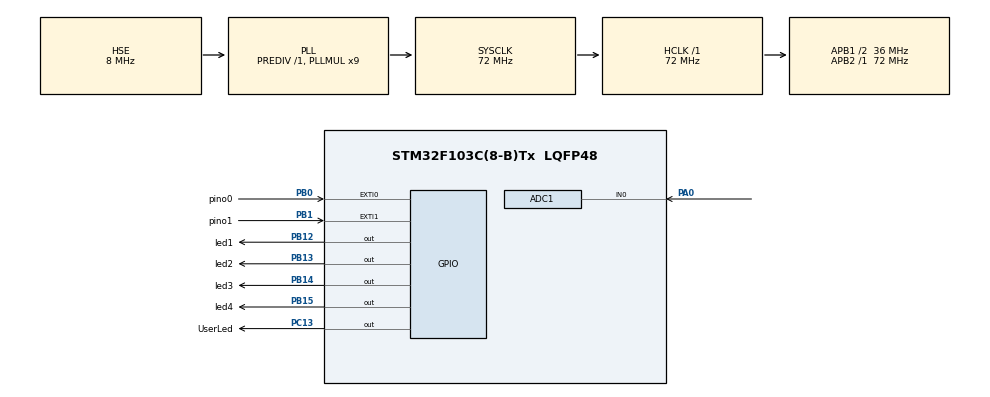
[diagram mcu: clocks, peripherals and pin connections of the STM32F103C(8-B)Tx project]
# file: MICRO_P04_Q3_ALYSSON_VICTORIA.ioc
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ADC1.Channel-0\#ChannelRegularConversion=ADC_CHANNEL_0
ADC1.ExternalTrigConv=ADC_EXTERNALTRIGCONV_T3_TRGO
ADC1.NbrOfConversionFlag=1
ADC1.Rank-0\#ChannelRegularConversion=1
ADC1.SamplingTime-0\#ChannelRegularConversion=ADC_SAMPLETIME_1CYCLE_5
ADC1.master=1
Dma.ADC1.0.Direction=DMA_PERIPH_TO_MEMORY
Dma.ADC1.0.Instance=DMA1_Channel1
Dma.ADC1.0.MemDataAlignment=DMA_MDATAALIGN_HALFWORD
Dma.ADC1.0.MemInc=DMA_MINC_ENABLE
Dma.ADC1.0.Mode=DMA_CIRCULAR
Dma.ADC1.0.PeriphDataAlignment=DMA_PDATAALIGN_HALFWORD
Dma.ADC1.0.PeriphInc=DMA_PINC_DISABLE
Dma.ADC1.0.Priority=DMA_PRIORITY_LOW
Dma.Request0=ADC1
Mcu.Family=STM32F1
Mcu.Name=STM32F103C(8-B)Tx
Mcu.Package=LQFP48
NVIC.ADC1_2_IRQn=true\:0\:0\:false\:false\:true\:true\:true\:true
NVIC.DMA1_Channel1_IRQn=true\:0\:0\:false\:false\:true\:false\:true\:true
NVIC.EXTI0_IRQn=true\:0\:0\:true\:false\:true\:true\:true\:true
NVIC.EXTI1_IRQn=true\:0\:0\:true\:false\:true\:true\:true\:true
NVIC.PriorityGroup=NVIC_PRIORITYGROUP_4
PA0-WKUP.Signal=ADCx_IN0
PA13.Mode=Serial_Wire
PA13.Signal=SYS_JTMS-SWDIO
PA14.Mode=Serial_Wire
PA14.Signal=SYS_JTCK-SWCLK
PB0.GPIO_Label=pino0
PB0.GPIO_ModeDefaultEXTI=GPIO_MODE_IT_FALLING
PB0.GPIO_PuPd=GPIO_PULLUP
PB0.Signal=GPXTI0
PB1.GPIO_Label=pino1
PB1.GPIO_ModeDefaultEXTI=GPIO_MODE_IT_FALLING
PB1.GPIO_PuPd=GPIO_PULLUP
PB1.Signal=GPXTI1
PB12.GPIO_Label=led1
PB12.GPIO_Speed=GPIO_SPEED_FREQ_LOW
PB12.PinState=GPIO_PIN_SET
PB12.Signal=GPIO_Output
PB13.GPIO_Label=led2
PB13.GPIO_Speed=GPIO_SPEED_FREQ_LOW
PB13.PinState=GPIO_PIN_SET
PB13.Signal=GPIO_Output
PB14.GPIO_Label=led3
PB14.GPIO_Speed=GPIO_SPEED_FREQ_LOW
PB14.PinState=GPIO_PIN_SET
PB14.Signal=GPIO_Output
PB15.GPIO_Label=led4
PB15.GPIO_Speed=GPIO_SPEED_FREQ_LOW
PB15.PinState=GPIO_PIN_SET
PB15.Signal=GPIO_Output
PC13-TAMPER-RTC.GPIO_Label=UserLed
PC13-TAMPER-RTC.PinState=GPIO_PIN_SET
PC13-TAMPER-RTC.Signal=GPIO_Output
PD0-OSC_IN.Mode=HSE-External-Oscillator
PD0-OSC_IN.Signal=RCC_OSC_IN
PD1-OSC_OUT.Mode=HSE-External-Oscillator
PD1-OSC_OUT.Signal=RCC_OSC_OUT
ProjectManager.HeapSize=0x200
ProjectManager.StackSize=0x400
ProjectManager.TargetToolchain=STM32CubeIDE
RCC.ADCPresc=RCC_ADCPCLK2_DIV6
RCC.AHBFreq_Value=72000000
RCC.APB1CLKDivider=RCC_HCLK_DIV2
RCC.APB1Freq_Value=36000000
RCC.APB1TimFreq_Value=72000000
RCC.APB2Freq_Value=72000000
RCC.APB2TimFreq_Value=72000000
RCC.HCLKFreq_Value=72000000
RCC.PLLMUL=RCC_PLL_MUL9
RCC.PLLSourceVirtual=RCC_PLLSOURCE_HSE
RCC.SYSCLKFreq_VALUE=72000000
RCC.SYSCLKSource=RCC_SYSCLKSOURCE_PLLCLK
RCC.USBFreq_Value=72000000
SH.ADCx_IN0.0=ADC1_IN0,IN0
TIM3.Period=999
TIM3.Prescaler=7199
TIM3.TIM_MasterOutputTrigger=TIM_TRGO_UPDATE
VP_TIM3_VS_ClockSourceINT.Mode=Internal
board=custom

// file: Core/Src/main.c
/* USER CODE BEGIN Header */
/**
  ******************************************************************************
  * @file           : main.c
  * @brief          : Questão 3 - Trabalhando com acesso direto a memória
  * @author         : Alysson Lucas Pontes Cavalcante da Silva e Maria Victória Martins Neves
  * @date           : 06/05/2026
  * @details        : Aprendendo a automatizar esse tempo para habilitar a conversão
  * utilizando um temporizador dedicado
  ******************************************************************************
  */
/* USER CODE END Header */
#include "main.h"

/* USER CODE BEGIN PD */
#define ADC_MAX_VAL 4095 // Resolução de 12 bits do ADC do STM32
#define VCC_80      ((ADC_MAX_VAL * 80) / 100) // ADC 80%
#define VCC_60      ((ADC_MAX_VAL * 60) / 100) // ADC 60%
#define VCC_40      ((ADC_MAX_VAL * 40) / 100) // ADC 40%
#define VCC_20      ((ADC_MAX_VAL * 20) / 100) // ADC 20%
#define ADC_BUF_LEN 1 // Tamanho do buffer do DMA

/* USER CODE END PD */

ADC_HandleTypeDef hadc1;
DMA_HandleTypeDef hdma_adc1;

TIM_HandleTypeDef htim3;

void SystemClock_Config(void);
static void MX_GPIO_Init(void);
static void MX_DMA_Init(void);
static void MX_ADC1_Init(void);
static void MX_TIM3_Init(void);
/* USER CODE BEGIN PFP */
//prototipação das funções
void UserLed(uint32_t tempo_atual, uint32_t *time_UserLed);
void LedComportamento(uint16_t valor_adc);

/* USER CODE END PFP */

int main(void)
{

  /* USER CODE BEGIN 1 */
	uint32_t tempo_atual = HAL_GetTick(); // Atualiza o tempo atual em milissegundos
	uint32_t time_UserLed= tempo_atual; //Controlar o tempo do Userled.
	uint32_t adc_buffer[ADC_BUF_LEN]; // O DMA vai jogar os dados aqui

  /* USER CODE END 1 */

  /* MCU Configuration--------------------------------------------------------*/

  /* Reset of all peripherals, Initializes the Flash interface and the Systick. */
  HAL_Init();

  /* Configure the system clock */
  SystemClock_Config();

  /* Initialize all configured peripherals */
  MX_GPIO_Init();
  MX_DMA_Init();
  MX_ADC1_Init();
  MX_TIM3_Init();
  /* USER CODE BEGIN 2 */

  HAL_ADC_Start_DMA(&hadc1, (uint32_t*)adc_buffer, ADC_BUF_LEN); // Inicializao ADC1
  HAL_TIM_Base_Start(&htim3); // Inicializa o temporizador TIM3
  /* USER CODE END 2 */

  /* Infinite loop */
  /* USER CODE BEGIN WHILE */
  while (1)
  {
	 tempo_atual = HAL_GetTick(); //atualiza a variável em tempo real
	 UserLed(tempo_atual, &time_UserLed); //Pisca o Userled (1950ms apagado) e (50ms aceso)
	 LedComportamento(adc_buffer[0]); //controla o comportamento dos leds a partir do valor adc
    /* USER CODE END WHILE */

  }
}

void SystemClock_Config(void)
{
  RCC_OscInitTypeDef RCC_OscInitStruct = {0};
  RCC_ClkInitTypeDef RCC_ClkInitStruct = {0};
  RCC_PeriphCLKInitTypeDef PeriphClkInit = {0};

  /** Initializes the RCC Oscillators according to the specified parameters
  * in the RCC_OscInitTypeDef structure.
  */
  RCC_OscInitStruct.OscillatorType = RCC_OSCILLATORTYPE_HSE;
  RCC_OscInitStruct.HSEState = RCC_HSE_ON;
  RCC_OscInitStruct.HSEPredivValue = RCC_HSE_PREDIV_DIV1;
  RCC_OscInitStruct.HSIState = RCC_HSI_ON;
  RCC_OscInitStruct.PLL.PLLState = RCC_PLL_ON;
  RCC_OscInitStruct.PLL.PLLSource = RCC_PLLSOURCE_HSE;
  RCC_OscInitStruct.PLL.PLLMUL = RCC_PLL_MUL9;
  if (HAL_RCC_OscConfig(&RCC_OscInitStruct) != HAL_OK)
  {
    Error_Handler();
  }

  /** Initializes the CPU, AHB and APB buses clocks
  */
  RCC_ClkInitStruct.ClockType = RCC_CLOCKTYPE_HCLK|RCC_CLOCKTYPE_SYSCLK
                              |RCC_CLOCKTYPE_PCLK1|RCC_CLOCKTYPE_PCLK2;
  RCC_ClkInitStruct.SYSCLKSource = RCC_SYSCLKSOURCE_PLLCLK;
  RCC_ClkInitStruct.AHBCLKDivider = RCC_SYSCLK_DIV1;
  RCC_ClkInitStruct.APB1CLKDivider = RCC_HCLK_DIV2;
  RCC_ClkInitStruct.APB2CLKDivider = RCC_HCLK_DIV1;

  if (HAL_RCC_ClockConfig(&RCC_ClkInitStruct, FLASH_LATENCY_2) != HAL_OK)
  {
    Error_Handler();
  }
  PeriphClkInit.PeriphClockSelection = RCC_PERIPHCLK_ADC;
  PeriphClkInit.AdcClockSelection = RCC_ADCPCLK2_DIV6;
  if (HAL_RCCEx_PeriphCLKConfig(&PeriphClkInit) != HAL_OK)
  {
    Error_Handler();
  }
}

static void MX_ADC1_Init(void)
{

  ADC_ChannelConfTypeDef sConfig = {0};

  /** Common config
  */
  hadc1.Instance = ADC1;
  hadc1.Init.ScanConvMode = ADC_SCAN_DISABLE;
  hadc1.Init.ContinuousConvMode = DISABLE;
  hadc1.Init.DiscontinuousConvMode = DISABLE;
  hadc1.Init.ExternalTrigConv = ADC_EXTERNALTRIGCONV_T3_TRGO;
  hadc1.Init.DataAlign = ADC_DATAALIGN_RIGHT;
  hadc1.Init.NbrOfConversion = 1;
  if (HAL_ADC_Init(&hadc1) != HAL_OK)
  {
    Error_Handler();
  }

  /** Configure Regular Channel
  */
  sConfig.Channel = ADC_CHANNEL_0;
  sConfig.Rank = ADC_REGULAR_RANK_1;
  sConfig.SamplingTime = ADC_SAMPLETIME_1CYCLE_5;
  if (HAL_ADC_ConfigChannel(&hadc1, &sConfig) != HAL_OK)
  {
    Error_Handler();
  }

}

static void MX_TIM3_Init(void)
{

  TIM_ClockConfigTypeDef sClockSourceConfig = {0};
  TIM_MasterConfigTypeDef sMasterConfig = {0};

  htim3.Instance = TIM3;
  htim3.Init.Prescaler = 7199;
  htim3.Init.CounterMode = TIM_COUNTERMODE_UP;
  htim3.Init.Period = 999;
  htim3.Init.ClockDivision = TIM_CLOCKDIVISION_DIV1;
  htim3.Init.AutoReloadPreload = TIM_AUTORELOAD_PRELOAD_DISABLE;
  if (HAL_TIM_Base_Init(&htim3) != HAL_OK)
  {
    Error_Handler();
  }
  sClockSourceConfig.ClockSource = TIM_CLOCKSOURCE_INTERNAL;
  if (HAL_TIM_ConfigClockSource(&htim3, &sClockSourceConfig) != HAL_OK)
  {
    Error_Handler();
  }
  sMasterConfig.MasterOutputTrigger = TIM_TRGO_UPDATE;
  sMasterConfig.MasterSlaveMode = TIM_MASTERSLAVEMODE_DISABLE;
  if (HAL_TIMEx_MasterConfigSynchronization(&htim3, &sMasterConfig) != HAL_OK)
  {
    Error_Handler();
  }

}

static void MX_DMA_Init(void)
{

  /* DMA controller clock enable */
  __HAL_RCC_DMA1_CLK_ENABLE();

  /* DMA interrupt init */
  /* DMA1_Channel1_IRQn interrupt configuration */
  HAL_NVIC_SetPriority(DMA1_Channel1_IRQn, 0, 0);
  HAL_NVIC_EnableIRQ(DMA1_Channel1_IRQn);

}

static void MX_GPIO_Init(void)
{
  GPIO_InitTypeDef GPIO_InitStruct = {0};

  /* GPIO Ports Clock Enable */
  __HAL_RCC_GPIOC_CLK_ENABLE();
  __HAL_RCC_GPIOD_CLK_ENABLE();
  __HAL_RCC_GPIOA_CLK_ENABLE();
  __HAL_RCC_GPIOB_CLK_ENABLE();

  /*Configure GPIO pin Output Level */
  HAL_GPIO_WritePin(UserLed_GPIO_Port, UserLed_Pin, GPIO_PIN_SET);

  /*Configure GPIO pin Output Level */
  HAL_GPIO_WritePin(GPIOB, led1_Pin|led2_Pin|led3_Pin|led4_Pin, GPIO_PIN_SET);

  /*Configure GPIO pin : UserLed_Pin */
  GPIO_InitStruct.Pin = UserLed_Pin;
  GPIO_InitStruct.Mode = GPIO_MODE_OUTPUT_PP;
  GPIO_InitStruct.Pull = GPIO_NOPULL;
  GPIO_InitStruct.Speed = GPIO_SPEED_FREQ_LOW;
  HAL_GPIO_Init(UserLed_GPIO_Port, &GPIO_InitStruct);

  /*Configure GPIO pins : pino0_Pin pino1_Pin */
  GPIO_InitStruct.Pin = pino0_Pin|pino1_Pin;
  GPIO_InitStruct.Mode = GPIO_MODE_IT_FALLING;
  GPIO_InitStruct.Pull = GPIO_PULLUP;
  HAL_GPIO_Init(GPIOB, &GPIO_InitStruct);

  /*Configure GPIO pins : led1_Pin led2_Pin led3_Pin led4_Pin */
  GPIO_InitStruct.Pin = led1_Pin|led2_Pin|led3_Pin|led4_Pin;
  GPIO_InitStruct.Mode = GPIO_MODE_OUTPUT_PP;
  GPIO_InitStruct.Pull = GPIO_NOPULL;
  GPIO_InitStruct.Speed = GPIO_SPEED_FREQ_LOW;
  HAL_GPIO_Init(GPIOB, &GPIO_InitStruct);

  /* EXTI interrupt init*/
  HAL_NVIC_SetPriority(EXTI0_IRQn, 0, 0);
  HAL_NVIC_EnableIRQ(EXTI0_IRQn);

  HAL_NVIC_SetPriority(EXTI1_IRQn, 0, 0);
  HAL_NVIC_EnableIRQ(EXTI1_IRQn);

}

/* USER CODE BEGIN 4 */
/**
  * @brief Máquina de estados do Heartbeat (50ms ON / 1950ms OFF)
  */
void UserLed(uint32_t tempo_atual, uint32_t *time_UserLed)
{
    if (HAL_GPIO_ReadPin(UserLed_GPIO_Port, UserLed_Pin) == GPIO_PIN_SET) // Se apagado
    {
        if ((tempo_atual - *time_UserLed) >= 1950)
        {
            HAL_GPIO_WritePin(UserLed_GPIO_Port, UserLed_Pin, GPIO_PIN_RESET);
            *time_UserLed = tempo_atual;
        }
    } else // Se aceso
    {
        if ((tempo_atual - *time_UserLed) >= 50)
        {
            HAL_GPIO_WritePin(UserLed_GPIO_Port, UserLed_Pin, GPIO_PIN_SET);
            *time_UserLed = tempo_atual;
        }
    }
}

/**
  * @brief  Controla o acionamento segmentado dos LEDs D1, D2, D3 e D4 baseado no nível do ADC.
  * Atua como um "barra de progresso", ligando os LEDs conforme faixas de tensão (20%, 40%, 60% e 80% do VCC).
  * @param  valor_adc Valor atual lido do buffer do ADC para comparação.
  * @retval None
  */
void LedComportamento(uint16_t valor_adc)
{
    if (valor_adc > VCC_80)
    {
        // > 80%: todos ligados
        HAL_GPIO_WritePin(GPIOB, led1_Pin | led2_Pin | led3_Pin | led4_Pin, GPIO_PIN_RESET);
    }
    else if (valor_adc > VCC_60)
    {
        // Entre 60% e 80%: D1, D2 e D3 ligados; D4 desligado
        HAL_GPIO_WritePin(GPIOB, led1_Pin | led2_Pin | led3_Pin, GPIO_PIN_RESET);
        HAL_GPIO_WritePin(GPIOB, led4_Pin, GPIO_PIN_SET);
    }
    else if (valor_adc > VCC_40)
    {
        // Entre 40% e 60%: D1 e D2 ligados; D3 e D4 desligados
        HAL_GPIO_WritePin(GPIOB, led1_Pin | led2_Pin, GPIO_PIN_RESET);
        HAL_GPIO_WritePin(GPIOB, led3_Pin | led4_Pin, GPIO_PIN_SET);
    }
    else if (valor_adc > VCC_20)
    {
        // Entre 20% e 40%: D1 ligado; D2, D3 e D4 desligados
        HAL_GPIO_WritePin(GPIOB, led1_Pin, GPIO_PIN_RESET);
        HAL_GPIO_WritePin(GPIOB, led2_Pin | led3_Pin | led4_Pin, GPIO_PIN_SET);
    }
    else
    {
        // < 20%: todos os LEDs desligados
        HAL_GPIO_WritePin(GPIOB, led1_Pin | led2_Pin | led3_Pin | led4_Pin, GPIO_PIN_SET);
    }
}

/* USER CODE END 4 */

void Error_Handler(void)
{
  __disable_irq();
  while (1)
  {
  }
}
